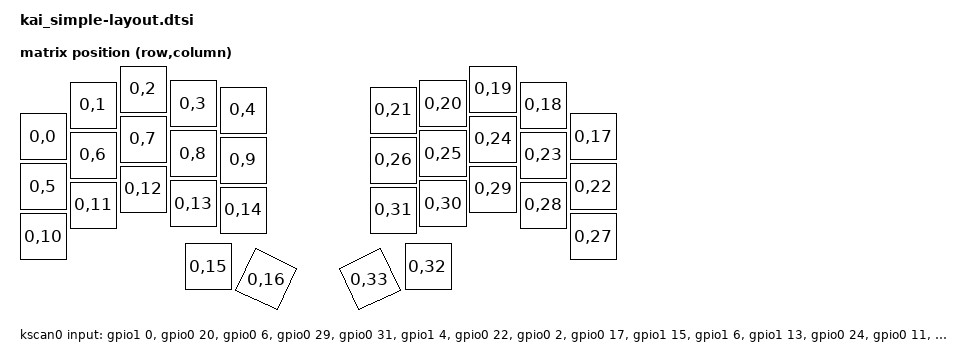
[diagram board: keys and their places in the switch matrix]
#include <physical_layouts.dtsi>
#include <dt-bindings/zmk/matrix_transform.h>

/ {
    chosen {
        zmk,kscan = &kscan0;
        zmk,physical-layout = &physical_layout0;
        zmk,matrix-transform = &default_transform;
    };

    default_transform: keymap_transform_0 {
        compatible = "zmk,matrix-transform";
        columns = <34>;
        rows = <1>;
        map = <
        RC(0,0)  RC(0,1)  RC(0,2)  RC(0,3)  RC(0,4)    RC(0,21) RC(0,20) RC(0,19) RC(0,18) RC(0,17)
        RC(0,5)  RC(0,6)  RC(0,7)  RC(0,8)  RC(0,9)    RC(0,26) RC(0,25) RC(0,24) RC(0,23) RC(0,22)
        RC(0,10) RC(0,11) RC(0,12) RC(0,13) RC(0,14)   RC(0,31) RC(0,30) RC(0,29) RC(0,28) RC(0,27)
                                   RC(0,15) RC(0,16)   RC(0,33) RC(0,32)
        >;
    };

    kscan0: kscan {
        compatible = "zmk,kscan-gpio-direct";
        wakeup-source;
        input-gpios
            = <&gpio1 0 (GPIO_ACTIVE_LOW | GPIO_PULL_UP)> // sw_1
            , <&gpio0 20 (GPIO_ACTIVE_LOW | GPIO_PULL_UP)> // sw_2
            , <&gpio0 6 (GPIO_ACTIVE_LOW | GPIO_PULL_UP)> // sw_3
            , <&gpio0 29 (GPIO_ACTIVE_LOW | GPIO_PULL_UP)> // sw_4
            , <&gpio0 31 (GPIO_ACTIVE_LOW | GPIO_PULL_UP)> // sw_5
            , <&gpio1 4 (GPIO_ACTIVE_LOW | GPIO_PULL_UP)> // sw_6
            , <&gpio0 22 (GPIO_ACTIVE_LOW | GPIO_PULL_UP)> // sw_7
            , <&gpio0 2 (GPIO_ACTIVE_LOW | GPIO_PULL_UP)> // sw_8
            , <&gpio0 17 (GPIO_ACTIVE_LOW | GPIO_PULL_UP)> // sw_9
            , <&gpio1 15 (GPIO_ACTIVE_LOW | GPIO_PULL_UP)> // sw_10
            , <&gpio1 6 (GPIO_ACTIVE_LOW | GPIO_PULL_UP)> // sw_11
            , <&gpio1 13 (GPIO_ACTIVE_LOW | GPIO_PULL_UP)> // sw_12
            , <&gpio0 24 (GPIO_ACTIVE_LOW | GPIO_PULL_UP)> // sw_13
            , <&gpio0 11 (GPIO_ACTIVE_LOW | GPIO_PULL_UP)> // sw_14
            , <&gpio1 11 (GPIO_ACTIVE_LOW | GPIO_PULL_UP)> // sw_15
            , <&gpio0 9 (GPIO_ACTIVE_LOW | GPIO_PULL_UP)> // sw_16
            , <&gpio0 10 (GPIO_ACTIVE_LOW | GPIO_PULL_UP)> // sw_17
            , <&gpio1 13 (GPIO_ACTIVE_LOW | GPIO_PULL_UP)> // sw_22
            , <&gpio0 29 (GPIO_ACTIVE_LOW | GPIO_PULL_UP)> // sw_21
            , <&gpio0 20 (GPIO_ACTIVE_LOW | GPIO_PULL_UP)> // sw_20
            , <&gpio0 17 (GPIO_ACTIVE_LOW | GPIO_PULL_UP)> // sw_19
            , <&gpio0 6 (GPIO_ACTIVE_LOW | GPIO_PULL_UP)> // sw_18
            , <&gpio0 10 (GPIO_ACTIVE_LOW | GPIO_PULL_UP)> // sw_27
            , <&gpio0 2 (GPIO_ACTIVE_LOW | GPIO_PULL_UP)> // sw_26
            , <&gpio0 22 (GPIO_ACTIVE_LOW | GPIO_PULL_UP)> // sw_25
            , <&gpio0 31 (GPIO_ACTIVE_LOW | GPIO_PULL_UP)> // sw_24
            , <&gpio0 24 (GPIO_ACTIVE_LOW | GPIO_PULL_UP)> // sw_23
            , <&gpio0 9 (GPIO_ACTIVE_LOW | GPIO_PULL_UP)> // sw_32
            , <&gpio1 11 (GPIO_ACTIVE_LOW | GPIO_PULL_UP)> // sw_31
            , <&gpio1 15 (GPIO_ACTIVE_LOW | GPIO_PULL_UP)> // sw_30
            , <&gpio1 0 (GPIO_ACTIVE_LOW | GPIO_PULL_UP)> // sw_29
            , <&gpio0 11 (GPIO_ACTIVE_LOW | GPIO_PULL_UP)> // sw_28
            , <&gpio1 6 (GPIO_ACTIVE_LOW | GPIO_PULL_UP)> // sw_34
            , <&gpio1 4 (GPIO_ACTIVE_LOW | GPIO_PULL_UP)> // sw_33
            ;
    };

    physical_layout0: physical_layout_0 {
        compatible = "zmk,physical-layout";
        display-name = "Default";

        keys  //                     w   h    x    y     rot    rx    ry
            = <&key_physical_attrs 100 100    0   95       0     0     0>
            , <&key_physical_attrs 100 100  100   32       0     0     0>
            , <&key_physical_attrs 100 100  200    0       0     0     0>
            , <&key_physical_attrs 100 100  300   29       0     0     0>
            , <&key_physical_attrs 100 100  400   42       0     0     0>
            , <&key_physical_attrs 100 100  700   42       0     0     0>
            , <&key_physical_attrs 100 100  800   29       0     0     0>
            , <&key_physical_attrs 100 100  900    0       0     0     0>
            , <&key_physical_attrs 100 100 1000   32       0     0     0>
            , <&key_physical_attrs 100 100 1100   95       0     0     0>
            , <&key_physical_attrs 100 100    0  195       0     0     0>
            , <&key_physical_attrs 100 100  100  132       0     0     0>
            , <&key_physical_attrs 100 100  200  100       0     0     0>
            , <&key_physical_attrs 100 100  300  129       0     0     0>
            , <&key_physical_attrs 100 100  400  142       0     0     0>
            , <&key_physical_attrs 100 100  700  142       0     0     0>
            , <&key_physical_attrs 100 100  800  129       0     0     0>
            , <&key_physical_attrs 100 100  900  100       0     0     0>
            , <&key_physical_attrs 100 100 1000  132       0     0     0>
            , <&key_physical_attrs 100 100 1100  195       0     0     0>
            , <&key_physical_attrs 100 100    0  295       0     0     0>
            , <&key_physical_attrs 100 100  100  232       0     0     0>
            , <&key_physical_attrs 100 100  200  200       0     0     0>
            , <&key_physical_attrs 100 100  300  229       0     0     0>
            , <&key_physical_attrs 100 100  400  242       0     0     0>
            , <&key_physical_attrs 100 100  700  242       0     0     0>
            , <&key_physical_attrs 100 100  800  229       0     0     0>
            , <&key_physical_attrs 100 100  900  200       0     0     0>
            , <&key_physical_attrs 100 100 1000  232       0     0     0>
            , <&key_physical_attrs 100 100 1100  295       0     0     0>
            , <&key_physical_attrs 100 100  330  355       0     0     0>
            , <&key_physical_attrs 100 100  430  355    2500   430   455>
            , <&key_physical_attrs 100 100  670  355 (-2500)   770   455>
            , <&key_physical_attrs 100 100  770  355       0     0     0>
            ;
    };
};
